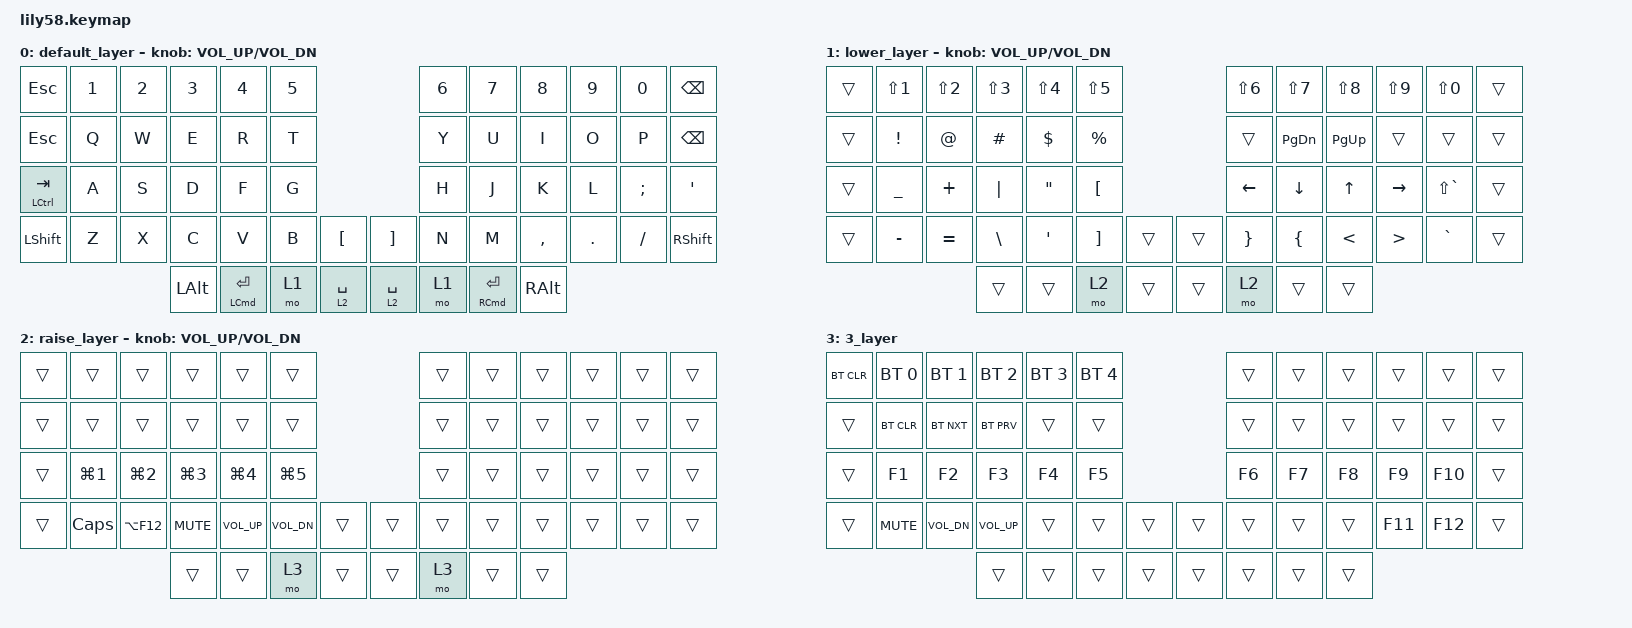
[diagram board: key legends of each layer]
/*
 * Copyright (c) 2020 The ZMK Contributors
 *
 * SPDX-License-Identifier: MIT
 */

#include <behaviors.dtsi>
#include <dt-bindings/zmk/keys.h>
#include <dt-bindings/zmk/bt.h>
#include <dt-bindings/zmk/ext_power.h>

/ {
    keymap {
        compatible = "zmk,keymap";

default_layer {   bindings = <
// |         |            |               |                |            |              |         |         |          |         |         |        | 
&kp ESC          &kp N1     &kp N2   &kp N3     &kp N4         &kp N5                              &kp N6   &kp N7         &kp N8         &kp N9    &kp N0     &kp BSPC
&kp ESC          &kp Q      &kp W    &kp E      &kp R          &kp T                               &kp Y    &kp U          &kp I          &kp O     &kp P      &kp BSPC
&mt LCTRL TAB    &kp A      &kp S    &kp D      &kp F          &kp G                               &kp H    &kp J          &kp K          &kp L     &kp SEMI   &kp SQT
&kp LSHFT        &kp Z      &kp X    &kp C      &kp V          &kp B  &kp LBKT       &kp RBKT      &kp N    &kp M          &kp COMMA      &kp DOT   &kp FSLH   &kp RSHFT
                                     &kp LALT   &mt LCMD RET   &mo 1  &lt 2 SPACE    &lt 2 SPACE   &mo 1    &mt RCMD RET   &kp RALT
            >;
            sensor-bindings = <&inc_dec_kp C_VOL_UP C_VOL_DN>;
};


lower_layer {   bindings = <
// |         |            |               |                |            |              |         |         |          |         |         |        | 
&trans    &kp LS(N1)  &kp LS(N2)  &kp LS(N3)    &kp LS(N4)    &kp LS(N5)                   &kp LS(N6)    &kp LS(N7)     &kp LS(N8)      &kp LS(N9)       &kp LS(N0)       &trans
&trans    &kp EXCL    &kp AT      &kp HASH      &kp DLLR      &kp PRCNT                    &trans        &kp PG_DN      &kp PG_UP       &trans           &trans           &trans
&trans    &kp UNDER   &kp PLUS    &kp PIPE      &kp DQT       &kp LBKT                     &kp LEFT      &kp DOWN       &kp UP          &kp RIGHT        &kp LS(GRAVE)    &trans
&trans    &kp MINUS   &kp EQUAL   &kp BSLH      &kp SQT       &kp RBKT   &trans   &trans   &kp RBRC      &kp LBRC       &kp LT          &kp GT           &kp GRAVE        &trans
                                  &trans        &trans        &mo 2      &trans   &trans   &mo 2         &trans         &trans

            >;
            sensor-bindings = <&inc_dec_kp C_VOL_UP C_VOL_DN>;
};


raise_layer {   bindings = <
// |         |            |               |                |            |              |         |         |          |         |         |        | 
&trans    &trans       &trans        &trans       &trans         &trans                               &trans    &trans    &trans     &trans    &trans    &trans
&trans    &trans       &trans        &trans       &trans         &trans                               &trans    &trans    &trans     &trans    &trans    &trans 
&trans    &kp LG(N1)   &kp LG(N2)    &kp LG(N3)   &kp LG(N4)     &kp LG(N5)                           &trans    &trans    &trans     &trans    &trans    &trans
&trans    &kp CAPS     &kp LA(F12)   &kp C_MUTE   &kp C_VOL_UP   &kp C_VOL_DN    &trans    &trans     &trans    &trans    &trans     &trans    &trans    &trans
                                     &trans       &trans         &mo 3           &trans    &trans     &mo 3     &trans    &trans
            >;
            sensor-bindings = <&inc_dec_kp C_VOL_UP C_VOL_DN>;
};


3_layer { bindings = <
// |         |            |               |                |            |              |         |         |          |         |         |        | 
   &bt BT_CLR   &bt BT_SEL 0   &bt BT_SEL 1   &bt BT_SEL 2   &bt BT_SEL 3   &bt BT_SEL 4                     &trans   &trans   &trans   &trans    &trans    &trans
   &trans       &bt BT_CLR     &bt BT_NXT     &bt BT_PRV     &trans         &trans                           &trans   &trans   &trans   &trans    &trans    &trans 
   &trans       &kp F1         &kp F2         &kp F3         &kp F4         &kp F5                           &kp F6   &kp F7   &kp F8   &kp F9    &kp F10   &trans
   &trans       &kp C_MUTE     &kp C_VOL_DN   &kp C_VOL_UP   &trans         &trans         &trans   &trans   &trans   &trans   &trans   &kp F11   &kp F12   &trans
                                              &trans         &trans         &trans         &trans   &trans   &trans   &trans   &trans
>;};


};
};
